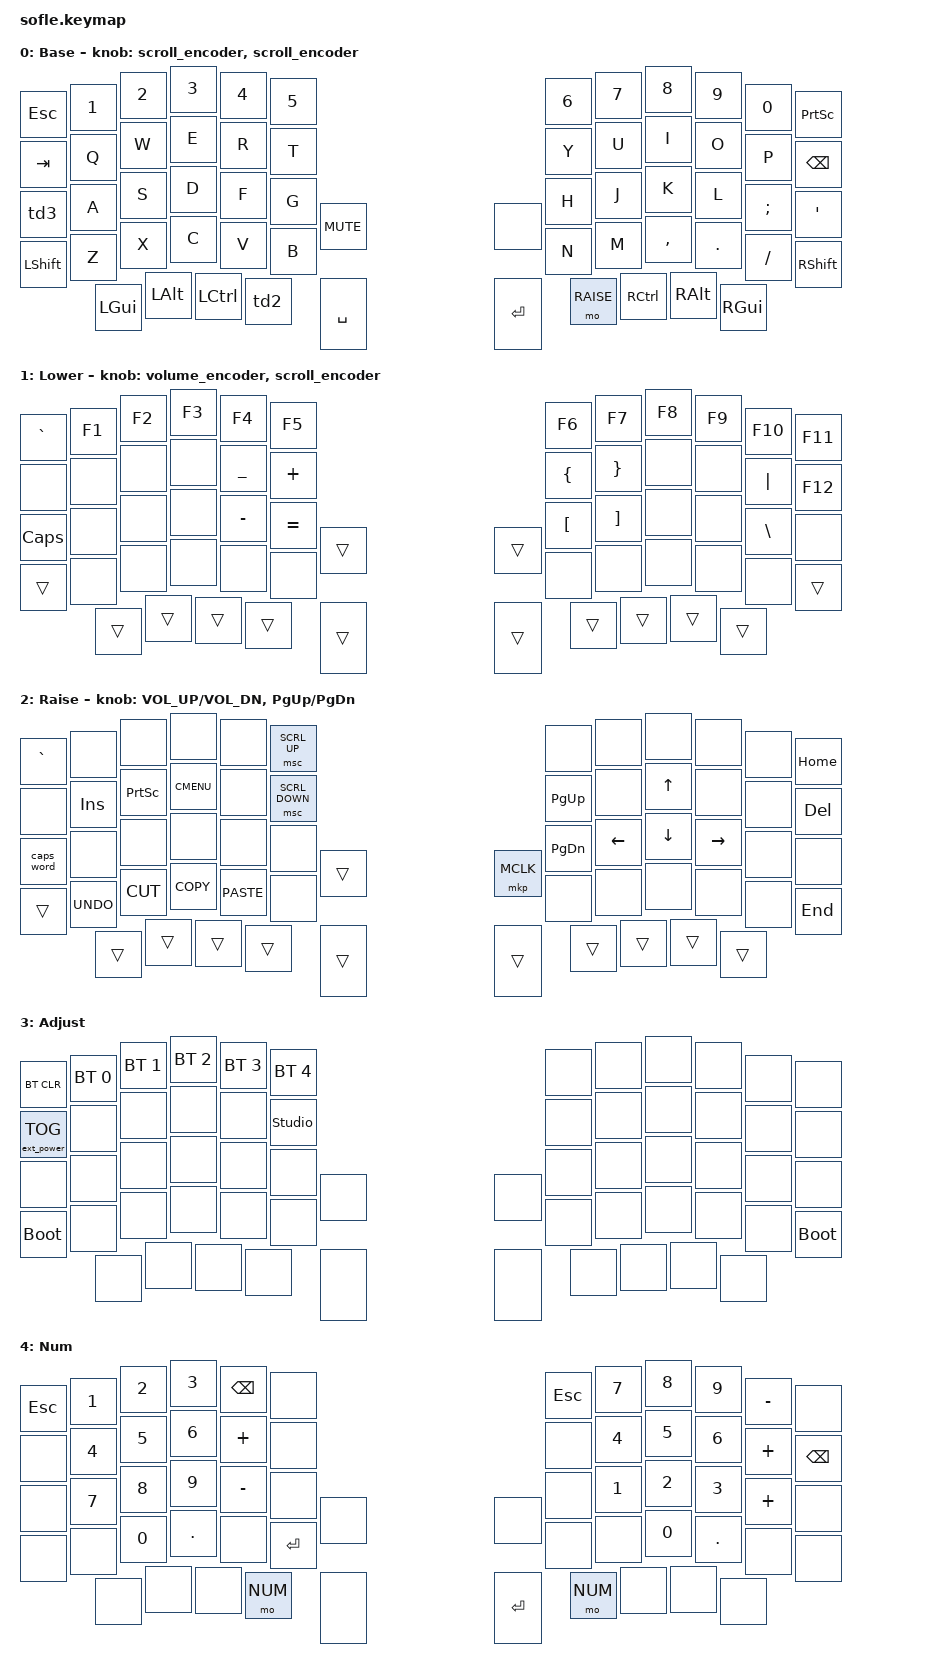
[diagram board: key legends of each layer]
/*
 * Copyright (c) 2020 The ZMK Contributors
 *
 * SPDX-License-Identifier: MIT
 */

#include <behaviors.dtsi>
#include <behaviors/num_word.dtsi>  // urob's zmk-auto-layer module
#include <dt-bindings/zmk/keys.h>
#include <dt-bindings/zmk/bt.h>
#include <dt-bindings/zmk/rgb.h>
#include <dt-bindings/zmk/ext_power.h>

// Mouse
#define ZMK_POINTING_DEFAULT_SCRL_VAL 600 // Default 300
#include <input/processors.dtsi>
#include <dt-bindings/zmk/pointing.h>
#include <dt-bindings/zmk/input_transform.h>

#define BASE 0
#define LOWER 1
#define RAISE 2
#define ADJUST 3
#define NUM 4

&msc {
    time-to-max-speed-ms = <0>;     // Default 300
    // acceleration exponent 0: uniform speed
    // acceleration exponent 1: uniform acceleration
    // acceleration exponent 2: uniform jerk
    acceleration-exponent = <0>;    // Default 1
};

/ {
// ZMK Native Input Processors
// #include <input/processors.dtsi>
// zip_xy_transform
// zip_scroll_transform
// zip_x_scaler
// zip_y_scaler
// zip_xy_scaler
// zip_xy_to_scroll_mapper
    // xy_transf: xy_transf {
    //     compatible = "zmk,input-processor-transform";
    //     #input-processor-cells = <1>;
    //     type = <INPUT_EV_REL>;
    //     x-codes = <INPUT_REL_X>;
    //     y-codes = <INPUT_REL_Y>;
    // };

    // scrl_transf: scrl_transf {
    //     compatible = "zmk,input-processor-transform";
    //     #input-processor-cells = <1>;
    //     type = <INPUT_EV_REL>;
    //     x-codes = <INPUT_REL_HWHEEL>;
    //     y-codes = <INPUT_REL_WHEEL>;
    // };

    // xy_scaler: xy_scaler {
    //     compatible = "zmk,input-processor-scaler";
    //     #input-processor-cells = <2>;
    //     type = <INPUT_EV_REL>;
    //     codes = <INPUT_REL_X>, <INPUT_REL_Y>;
    //     track-remainders;
    // };

    // x_scaler: x_scaler {
    //     compatible = "zmk,input-processor-scaler";
    //     #input-processor-cells = <2>;
    //     type = <INPUT_EV_REL>;
    //     codes = <INPUT_REL_X>;
    // };

    // to_wheel: to_wheel {
    //     compatible = "zmk,input-processor-code-mapper";
    //     #input-processor-cells = <0>;
    //     type = <INPUT_EV_REL>;
    //     map = <INPUT_REL_X INPUT_REL_HWHEEL>, <INPUT_REL_Y INPUT_REL_WHEEL>;
    // };

    glidepoint_input_listener {
        compatible = "zmk,input-listener";
        device = <&glidepoint_split>;
        input-processors = <&zip_xy_scaler 3 2>;
        precise {
            layers = <LOWER>;
            //inherit;
            input-processors = <&zip_xy_scaler 1 4>;
        };
        scroll {
            layers = <RAISE>;
            input-processors = <&zip_xy_transform (INPUT_TRANSFORM_Y_INVERT)>, <&zip_x_scaler 0 1>, 
                               <&zip_xy_to_scroll_mapper>;
        };
    };
// ------------------------

    behaviors {
        volume_encoder: volume_encoder {
            compatible = "zmk,behavior-sensor-rotate";
            #sensor-binding-cells = <0>;
            bindings = <&kp C_VOL_UP>, <&kp C_VOL_DN>;
        };

        scroll_encoder: scroll_encoder {
            compatible = "zmk,behavior-sensor-rotate";
            #sensor-binding-cells = <0>;
            bindings = <&msc SCRL_UP>, <&msc SCRL_DOWN>;
            tap-ms = <20>;
        };

        td0: tap_dance_grave_esc {
            compatible = "zmk,behavior-tap-dance";
            #binding-cells = <0>;
            tapping-term-ms = <200>;
            bindings = <&kp GRAVE>, <&kp ESC>;
        };

        td1: tap_dance_esc_grave {
            compatible = "zmk,behavior-tap-dance";
            #binding-cells = <0>;
            tapping-term-ms = <200>;
            bindings = <&kp ESC>, <&kp GRAVE>;
        };

        td2: tap_dance_numlayer {
            compatible = "zmk,behavior-tap-dance";
            #binding-cells = <0>;
            tapping-term-ms = <200>;
            bindings = <&mo LOWER>, <&num_word NUM>;
        };

        td3: tap_dance_caps_word {
            compatible = "zmk,behavior-tap-dance";
            #binding-cells = <0>;
            tapping-term-ms = <200>;
            bindings = <&none>, <&caps_word>;
        };
    };

    // Activate ADJUST layer by pressing raise and lower
    conditional_layers {
        compatible = "zmk,conditional-layers";
        adjust_layer {
            if-layers = <LOWER RAISE>;
            then-layer = <ADJUST>;
        };
    };

    combos {
        compatible = "zmk,combos";

        // Use combo ('T' and 'Y' on adjust layer) to reboot the central dongle into bootloader
        // https://zmk.dev/docs/keymaps/combos#advanced-usage
        bootloader_comb {
            bindings = <&bootloader>;
            key-positions = <17 18>;
            layers = <3>;
        };
    };

    keymap {
        compatible = "zmk,keymap";

        default_layer {
            display-name = "Base";

/*
 * 
 * ,-----------------------------------------.                            ,-----------------------------------------.
 * | ESC  |   1  |   2  |   3  |   4  |   5  |                            |   6  |   7  |   8  |   9  |   0  |PSCR  |
 * |------+------+------+------+------+------|                            |------+------+------+------+------+------|
 * | Tab  |   Q  |   W  |   E  |   R  |   T  |                            |   Y  |   U  |   I  |   O  |   P  |BKSPC |
 * |------+------+------+------+------+------|                            |------+------+------+------+------+------|
 * | td3  |   A  |   S  |   D  |   F  |   G  |-----------.    ,-----------|   H  |   J  |   K  |   L  |   ;  |  '   |
 * |------+------+------+------+------+------|     MUTE  |    |           |------+------+------+------+------+------|
 * |LShift|   Z  |   X  |   C  |   V  |   B  |-----------|    |-----------|   N  |   M  |   ,  |   .  |   /  |RShift|
 * `--------------------------------------------/       /      \       \--------------------------------------------'
 *               | LGUI | LAlt | LCTR |  td2 | / Space /        \ Enter \ |RAISE | RCTR | RAlt | RGUI |
 *               |      |      |      |      |/       /          \       \|      |      |      |      |
 *                `----------------------------------'            '----------------------------------'
 */
            bindings = <
&kp ESC    &kp N1  &kp N2    &kp N3    &kp N4     &kp N5                          &kp N6     &kp N7     &kp N8     &kp N9   &kp N0    &kp PSCRN
&kp TAB    &kp Q   &kp W     &kp E     &kp R      &kp T                           &kp Y      &kp U      &kp I      &kp O    &kp P     &kp BSPC
&td3       &kp A   &kp S     &kp D     &kp F      &kp G                           &kp H      &kp J      &kp K      &kp L    &kp SEMI  &kp SQT
&kp LSHFT  &kp Z   &kp X     &kp C     &kp V      &kp B      &kp C_MUTE  &none    &kp N      &kp M      &kp COMMA  &kp DOT  &kp FSLH  &kp RSHFT
                   &kp LGUI  &kp LALT  &kp LCTRL  &td2       &kp SPACE   &kp RET  &mo RAISE  &kp RCTRL  &kp RALT   &kp RGUI
            >;

            sensor-bindings = <&scroll_encoder &scroll_encoder>;
        };

        lower_layer {
            display-name = "Lower";

/*
 * 
 * ,-----------------------------------------.                            ,-----------------------------------------.
 * |MT(`) |  F1  |  F2  |  F3  |  F4  |  F5  |                            |  F6  |  F7  |  F8  |  F9  | F10  | F11  |
 * |------+------+------+------+------+------|                            |------+------+------+------+------+------|
 * |      |      |      |      |   _  |   +  |                            |   {  |   }  |      |      |   |  | F12  |
 * |------+------+------+------+------+------|                            |------+------+------+------+------+------|
 * | CAPS |      |      |      |   -  |   =  |-----------.    ,-----------|   [  |   ]  |      |      |   \  |      |
 * |------+------+------+------+------+------|           |    |           |------+------+------+------+------+------|
 * |      |      |      |      |      |      |-----------|    |-----------|      |      |      |      |      |      |
 * `--------------------------------------------/       /      \       \--------------------------------------------'
 *               |      |      |      |      | /       /        \       \ |      |      |      |      |
 *               |      |      |      |      |/       /          \       \|      |      |      |      |
 *                `----------------------------------'            '----------------------------------'
 */
            bindings = <
&kp GRAVE  &kp F1  &kp F2  &kp F3  &kp F4     &kp F5                      &kp F6    &kp F7    &kp F8  &kp F9  &kp F10   &kp F11
&none      &none   &none   &none   &kp UNDER  &kp PLUS                    &kp LBRC  &kp RBRC  &none   &none   &kp PIPE  &kp F12
&kp CLCK   &none   &none   &none   &kp MINUS  &kp EQUAL                   &kp LBKT  &kp RBKT  &none   &none   &kp BSLH  &none
&trans     &none   &none   &none   &none      &none       &trans  &trans  &none     &none     &none   &none   &none     &trans
                   &trans  &trans  &trans     &trans      &trans  &trans  &trans    &trans    &trans  &trans
            >;

            sensor-bindings = <&volume_encoder &scroll_encoder>;
        };

        raise_layer {
            display-name = "Raise";

/*
 * 
 * ,-----------------------------------------.                            ,-----------------------------------------.
 * |   `  |      |      |      |      |MSC_UP|                            |      |      |      |      |      | HOME |
 * |------+------+------+------+------+------|                            |------+------+------+------+------+------|
 * |      | INS  | PSCR | GUI  |      |MSC_DN|                            | PGUP |      |   ^  |      |      | DEL  |
 * |------+------+------+------+------+------|                            |------+------+------+------+------+------|
 * |cword |      |      |      |      |      |-----------.    ,-----------| PGDN |  <-  |   v  |  ->  |      |      |
 * |------+------+------+------+------+------|           |    |   MCLK    |------+------+------+------+------+------|
 * |      | UDNO | CUT  | COPY | PASTE|      |-----------|    |-----------|      |      |      |      |      | END  |
 * `--------------------------------------------/       /      \       \--------------------------------------------'
 *               |      |      |      |      | /       /        \       \ |      |      |      |      |
 *               |      |      |      |      |/       /          \       \|      |      |      |      |
 *                `----------------------------------'            '----------------------------------'
 */
            bindings = <
&kp GRAVE   &none       &none      &none        &none        &msc SCRL_UP                       &none      &none     &none     &none      &none  &kp HOME 
&none       &kp INS     &kp PSCRN  &kp K_CMENU  &none        &msc SCRL_DOWN                     &kp PG_UP  &none     &kp UP    &none      &none  &kp DEL
&caps_word  &none       &none      &none        &none        &none                              &kp PG_DN  &kp LEFT  &kp DOWN  &kp RIGHT  &none  &none
&trans      &kp K_UNDO  &kp K_CUT  &kp K_COPY   &kp K_PASTE  &none           &trans  &mkp MCLK  &none      &none     &none     &none      &none  &kp END
                        &trans     &trans       &trans       &trans          &trans  &trans     &trans     &trans    &trans    &trans
            >;

            sensor-bindings = <&inc_dec_kp C_VOL_UP C_VOL_DN &inc_dec_kp PG_UP PG_DN>;
        };

        adjust_layer {
            display-name = "Adjust";

/*
 * 
 * ,-----------------------------------------------.                            ,-----------------------------------------.
 * | BTCLR |  BT1  |  BT2  |  BT3  |  BT4  |  BT5  |                            |      |      |      |      |      |      |
 * |-------+-------+-------+-------+-------+-------|                            |------+------+------+------+------+------|
 * |EXTPWR |       |       |       |       |STUDULK|                            |      |      |      |      |      |      |
 * |-------+-------+-------+-------+-------+-------|                            |------+------+------+------+------+------|
 * |       |       |       |       |       |       |-----------.    ,-----------|      |      |      |      |      |      |
 * |-------+-------+-------+-------+-------+-------|           |    |           |------+------+------+------+------+------|
 * | BOOTL |       |       |       |       |       |-----------|    |-----------|      |      |      |      |      | BOOTL|
 * `--------------------------------------------------/       /      \       \--------------------------------------------'
 *                 |       |       |       |       | /       /        \       \ |      |      |      |      |
 *                 |       |       |       |       |/       /          \       \|      |      |      |      |
 *                  `--------------------------------------'            '----------------------------------'
 */
            bindings = <
&bt BT_CLR         &bt BT_SEL 0  &bt BT_SEL 1  &bt BT_SEL 2  &bt BT_SEL 3  &bt BT_SEL 4                &none  &none  &none  &none  &none  &none
&ext_power EP_TOG  &none         &none         &none         &none         &studio_unlock              &none  &none  &none  &none  &none  &none
&none              &none         &none         &none         &none         &none                       &none  &none  &none  &none  &none  &none
&bootloader        &none         &none         &none         &none         &none         &none  &none  &none  &none  &none  &none  &none  &bootloader
                                 &none         &none         &none         &none         &none  &none  &none  &none  &none  &none
            >;
        };

        num_layer {
            display-name = "Num";

/*
 * 
 * ,-----------------------------------------.                            ,-----------------------------------------.
 * | ESC  |   1  |   2  |   3  | BKSPC|      |                            | ESC  |  7   |  8   |  9   |  -   |      |
 * |------+------+------+------+------+------|                            |------+------+------+------+------+------|
 * |      |   4  |   5  |   6  |  +   |      |                            |      |  4   |  5   |  6   |  +   |BKSPC |
 * |------+------+------+------+------+------|                            |------+------+------+------+------+------|
 * |      |   7  |   8  |   9  |  -   |      |-----------.    ,-----------|      |  1   |  2   |  3   |  +   |      |
 * |------+------+------+------+------+------|           |    |           |------+------+------+------+------+------|
 * |      |      |   0  |      |  .   |Enter |-----------|    |-----------|      |      |  0   |  .   |      |      |
 * `--------------------------------------------/       /      \       \--------------------------------------------'
 *               |      |      |      |  mo  | /       /        \ Enter \ |  mo  |      |      |      |
 *               |      |      |      | NUM  |/       /          \       \| Num  |      |      |      |
 *                `----------------------------------'            '----------------------------------'
 */
            bindings = <
&kp ESC  &kp N1  &kp N2  &kp N3   &kp BSPC   &none                    &kp ESC  &kp N7  &kp N8  &kp N9   &kp MINUS  &none 
&none    &kp N4  &kp N5  &kp N6   &kp PLUS   &none                    &none    &kp N4  &kp N5  &kp N6   &kp PLUS   &kp BSPC
&none    &kp N7  &kp N8  &kp N9   &kp MINUS  &none                    &none    &kp N1  &kp N2  &kp N3   &kp PLUS   &none
&none    &none   &kp N0  &kp DOT  &none      &kp RET  &none  &none    &none    &none   &kp N0  &kp DOT  &none      &none
                 &none   &none    &none      &mo NUM  &none  &kp RET  &mo NUM  &none  &none  &none
            >;
        };

    };
};
